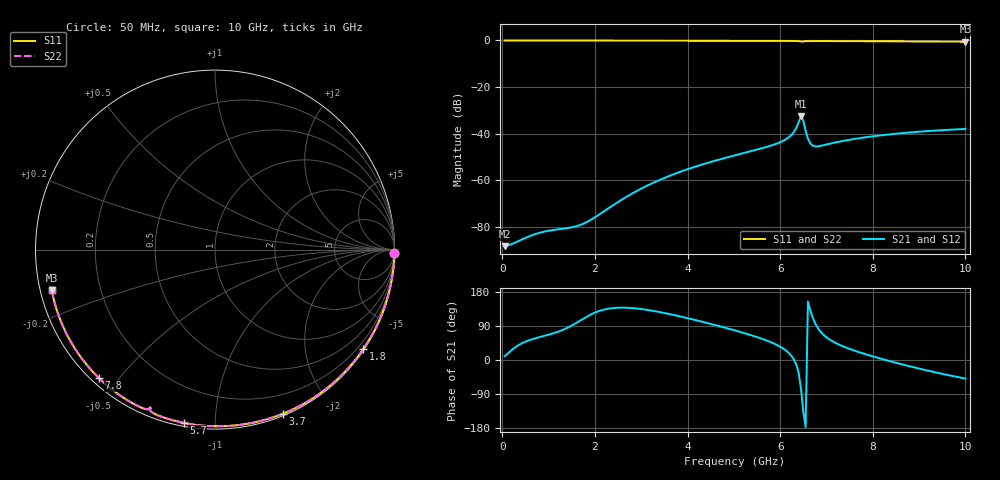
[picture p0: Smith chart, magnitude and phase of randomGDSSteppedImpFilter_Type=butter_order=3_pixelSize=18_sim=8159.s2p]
! freq	dB(S11)	phase(S11)	dB(S12)	phase(S12)
!  dB(S21)	phase(S21)	dB(S22)	phase(S22)
!S-par simulation data
#  GHz  S  DB  R 50
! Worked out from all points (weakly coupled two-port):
!   200 points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, 50 MHz to 10 GHz, reference 50 ohm
!   highest |S21| = -32.61 dB at 6.45 GHz (marker M1); lowest = -88.3 dB at 50 MHz (marker M2)
!   lowest |S11| = -0.6 dB at 10 GHz (marker M3), VSWR 30.83, Z = 1.65 - j6.13 ohm
!   |S11| at or under -10 dB: nowhere
!   |S22| runs from -0.6 to 0.0 dB; largest |S21 - S12| = 0
!   S11 on the Smith chart (normalised r, x): 50 MHz: open; 1.8 GHz: 0.03, -3.29; 3.7 GHz: 0.02, -1.49; 5.7 GHz: 0.02, -0.83; 7.8 GHz: 0.02, -0.44; 10 GHz: 0.03, -0.12
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0.05  -0.00 -1.0  -88.33 10.2  -88.33 10.2  -0.00 -1.0
0.8  -0.02 -15.2  -82.61 60.3  -82.61 60.3  -0.02 -15.2
1.55  -0.04 -29.2  -80.03 94.5  -80.03 94.5  -0.04 -29.2
1.75  -0.04 -32.9  -78.70 109.1  -78.70 109.1  -0.04 -32.9
1.8  -0.04 -33.9  -78.23 112.7  -78.23 112.7  -0.04 -33.9
2.75  -0.07 -51.0  -66.33 137.5  -66.33 137.5  -0.07 -51.0
3.4  -0.08 -62.4  -59.87 126.5  -59.87 126.5  -0.08 -62.4
3.7  -0.09 -67.6  -57.45 118.9  -57.45 118.9  -0.09 -67.6
5.05  -0.14 -89.9  -49.20 77.1  -49.20 77.1  -0.14 -89.9
5.7  -0.17 -100.3  -45.77 51.8  -45.77 51.8  -0.17 -100.3
6  -0.19 -105.1  -43.71 35.1  -43.71 35.1  -0.19 -105.1
6.2  -0.20 -108.3  -41.38 16.9  -41.38 16.9  -0.20 -108.3
6.35  -0.24 -111.0  -37.52 -12.4  -37.52 -12.4  -0.24 -111.0
6.45  -0.43 -112.5  -32.61 -76.1  -32.61 -76.1  -0.43 -112.5
6.5  -0.43 -112.0  -34.33 -136.1  -34.33 -136.1  -0.42 -112.0
6.55  -0.32 -112.6  -38.78 -177.2  -38.78 -177.2  -0.31 -112.6
6.6  -0.27 -113.5  -42.15 154.4  -42.15 154.4  -0.27 -113.5
6.7  -0.25 -115.3  -45.12 113.0  -45.12 113.0  -0.25 -115.3
6.85  -0.25 -117.7  -45.35 78.0  -45.35 78.0  -0.25 -117.7
7.8  -0.31 -132.2  -41.69 16.9  -41.69 16.9  -0.31 -132.2
8.35  -0.37 -140.5  -40.34 -2.5  -40.34 -2.5  -0.37 -140.5
10  -0.56 -166.0  -38.00 -49.0  -38.00 -49.0  -0.56 -166.0
